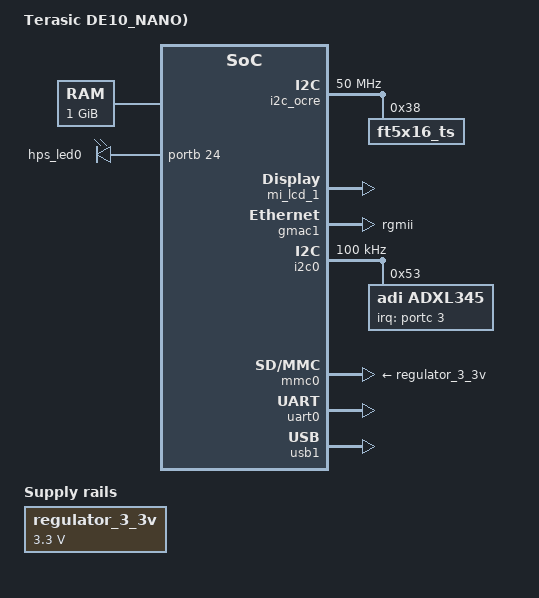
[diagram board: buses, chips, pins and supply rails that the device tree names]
/*
 * Copyright Altera Corporation (C) 2015. All rights reserved.
 *
 * This program is free software; you can redistribute it and/or modify
 * it under the terms and conditions of the GNU General Public License,
 * version 2, as published by the Free Software Foundation.
 *
 * This program is distributed in the hope it will be useful, but WITHOUT
 * ANY WARRANTY; without even the implied warranty of MERCHANTABILITY or
 * FITNESS FOR A PARTICULAR PURPOSE.  See the GNU General Public License for
 * more details.
 *
 * You should have received a copy of the GNU General Public License along with
 * this program.  If not, see <http://www.gnu.org/licenses/>.
 */

#include "socfpga_cyclone5.dtsi"

/ {
	model = "Terasic DE10_NANO)";
	compatible = "terasic,de0-atlas", "altr,socfpga-cyclone5", "altr,socfpga";

	chosen {
		bootargs = "earlyprintk";
		stdout-path = "serial0:115200n8";
	};

	memory@0 {
		name = "memory";
		device_type = "memory";
		reg = <0x0 0x40000000>; /* 1GB */
	};

	aliases {
		ethernet0 = &gmac1;
	};

	regulator_3_3v: 3-3-v-regulator {
		compatible = "regulator-fixed";
		regulator-name = "3.3V";
		regulator-min-microvolt = <3300000>;
		regulator-max-microvolt = <3300000>;
	};

	soc {
		hps_0_bridges: bridge@0xc0000000 {
			compatible = "altr,bridge-14.1", "simple-bus";
			reg = <0xc0000000 0x20000000>,
				<0xff200000 0x00200000>;
			reg-names = "axi_h2f", "axi_h2f_lw";
			#address-cells = <2>;
			#size-cells = <1>;
			ranges = <0x00000000 0x00000000 0xc0000000 0x00010000>,
				<0x00000001 0x00000000 0xFF200000 0x00000020>,//opencores i2c
				<0x00000001 0x00000020 0xFF200020 0x00000010>,//pio_interrupt
				<0x00000001 0x00000040 0xFF200040 0x0000001f>,
				<0x00000001 0x00000060 0xFF200060 0x0000000f>,
				<0x00000001 0x00031000 0xFF231000 0x00000080>;

           		 i2c_ocre: ocores@0x00 {
				#address-cells = <1>;
				#size-cells = <0>;
				compatible = "opencores,i2c-ocores";
				reg = <0x00000001 0x00000000 0x20>;
				interrupts = <0 44 1>;
				clock-frequency = <50000000>;
				reg-shift = <2>;
				reg-io-width = <4>;
				ft5x16_ts@0x38 {
					compatible = "ft5x16_ts";	
					reg = < 0x38 >;
					interrupt-base = <0xFF200020>;
					interrupts = <0 43 1>; //pio_interrupt
					//interrupts = < 0 >;	
					//interrupt-parent = < &touch_panel_pen_irq_n >;	
				}; //end ts@0 (ts0)
			 }; 

			mi_lcd_1: mi_lcd@0x100 {	
				compatible = "ilitek,ili9806";
				reg = <0x00000001 0x00000040 0x0f >;
				max-width = < 854 >;	
				max-height = < 480 >;	
				bits-per-color = < 8 >;				
				};

			board_irq_ctrl_0: unknown@0x10000cfa0 {
				compatible = "altr,c5soc_opencl";
				interrupt-parent = <&intc>;
				interrupts = <0 40 4>;
				interrupt-controller;
				#interrupt-cells = <1>;
				}; //end unknown@0x10000cfa0 (board_irq_ctrl_0)

		}; //end bridge@0xc0000000 (hps_0_bridges)
	};

	leds {
		compatible = "gpio-leds";
		hps0 {
			label = "hps_led0";
			gpios = <&portb 24 0>;
			linux,default-trigger = "heartbeat";
		};
	};
};

&gmac1 {
	status = "okay";
	phy-mode = "rgmii";

	txd0-skew-ps = <0>; /* -420ps */
	txd1-skew-ps = <0>; /* -420ps */
	txd2-skew-ps = <0>; /* -420ps */
	txd3-skew-ps = <0>; /* -420ps */
	rxd0-skew-ps = <420>; /* 0ps */
	rxd1-skew-ps = <420>; /* 0ps */
	rxd2-skew-ps = <420>; /* 0ps */
	rxd3-skew-ps = <420>; /* 0ps */
	txen-skew-ps = <0>; /* -420ps */
	txc-skew-ps = <1860>; /* 960ps */
	rxdv-skew-ps = <420>; /* 0ps */
	rxc-skew-ps = <1680>; /* 780ps */

	max-frame-size = <3800>;
};

&gpio0 {
	status = "okay";
};

&gpio1 {
	status = "okay";
};

&gpio2 {
	status = "okay";
};

&i2c0 {
	status = "okay";
	clock-frequency = <100000>;

	adxl345: adxl345@0 {
		compatible = "adi,adxl345";
		reg = <0x53>;

		interrupt-parent = <&portc>;
		interrupts = <3 2>;
	};
};

&mmc0 {
	vmmc-supply = <&regulator_3_3v>;
	vqmmc-supply = <&regulator_3_3v>;
	status = "okay";
};

&uart0 {
	status = "okay";
};

&usb1 {
	status = "okay";
};
